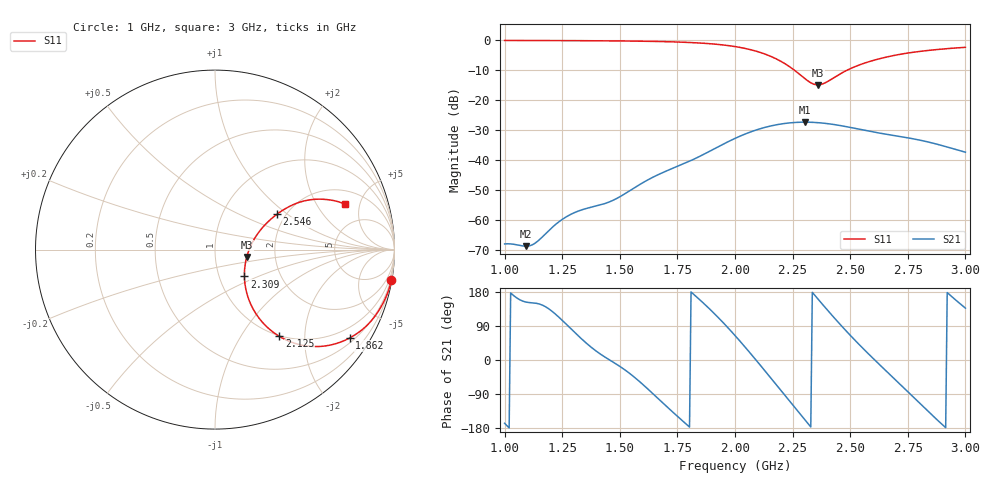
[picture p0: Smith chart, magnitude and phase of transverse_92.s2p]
! TOUCHSTONE file generated by CST MICROWAVE STUDIO
! Date and time: Tue Mar 11 13:56:38 2025
! Project name: transverse.cst
! Parameters = {Fracture=5; B=10; D=160; F=15; Feed=2.85625; L=100; M=20; R=0.384908; S=2; Theta=90; length=57.125; wave=114.25}
! Header version: 2024
! Port assignment regex: !\s*Touchstone port\s*([0-9]+)\s*=\s*(CST MWS port|CST DES external port|CST DES block port)\s*(.+)\s* \(\"(.*)\"\)(\s*mode\s*([0-9]+))?.*
! Touchstone port assignment:
! Touchstone port 1 = CST MWS port 1 ("")
! Touchstone port 2 = CST MWS port 2 ("")
# GHz S MA R 50
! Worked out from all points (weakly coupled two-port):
!   305 points, 1 GHz to 3 GHz, reference 50 ohm
!   highest |S21| = -27.25 dB at 2.303 GHz (marker M1); lowest = -68.6 dB at 1.092 GHz (marker M2)
!   lowest |S11| = -14.8 dB at 2.362 GHz (marker M3), VSWR 1.44, Z = 71.2 - j5.97 ohm
!   |S11| at or under -10 dB: 2.259 GHz to 2.485 GHz (225.8 MHz wide, 9.52 % of centre)
!   S12 and S22 are empty: the file has one direction only
!   S11 on the Smith chart (normalised r, x): 1 GHz: 0, -12; 1.862 GHz: 0.64, -3.23; 2.125 GHz: 0.99, -1.50; 2.309 GHz: 1.32, -0.41; 2.546 GHz: 1.80, +0.85; 3 GHz: 2.93, +3.61
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1  0.9977 -9.7  0.0004058 -166.9  0 0.0  0 0.0
1.09211  0.9964 -11.0  0.0003722 152.9  0 0.0  0 0.0
1.13816  0.9956 -11.7  0.0004333 149.6  0 0.0  0 0.0
1.21053  0.994 -12.9  0.0007892 126.3  0 0.0  0 0.0
1.25658  0.9925 -13.7  0.001079 101.0  0 0.0  0 0.0
1.33553  0.9893 -15.1  0.001502 54.9  0 0.0  0 0.0
1.46711  0.9817 -18.0  0.002132 -4.2  0 0.0  0 0.0
1.67105  0.9584 -24.2  0.005897 -104.4  0 0.0  0 0.0
1.86184  0.8971 -33.3  0.01249 150.7  0 0.0  0 0.0
2  0.7895 -43.2  0.02327 64.6  0 0.0  0 0.0
2.125  0.6017 -53.4  0.03509 -24.9  0 0.0  0 0.0
2.21711  0.4082 -57.4  0.04135 -93.7  0 0.0  0 0.0
2.30263  0.2319 -44.9  0.0434 -157.3  0 0.0  0 0.0
2.30921  0.2217 -42.4  0.04339 -162.2  0 0.0  0 0.0
2.33553  0.1911 -29.3  0.04312 178.6  0 0.0  0 0.0
2.36184  0.1816 -12.9  0.04251 159.6  0 0.0  0 0.0
2.38816  0.1936 2.4  0.04159 140.9  0 0.0  0 0.0
2.44737  0.264 21.9  0.03865 100.0  0 0.0  0 0.0
2.54605  0.3981 29.7  0.03271 36.4  0 0.0  0 0.0
2.67105  0.5419 29.2  0.0267 -37.7  0 0.0  0 0.0
2.82895  0.6742 24.5  0.02068 -130.1  0 0.0  0 0.0
3  0.7668 19.3  0.0137 136.9  0 0.0  0 0.0
